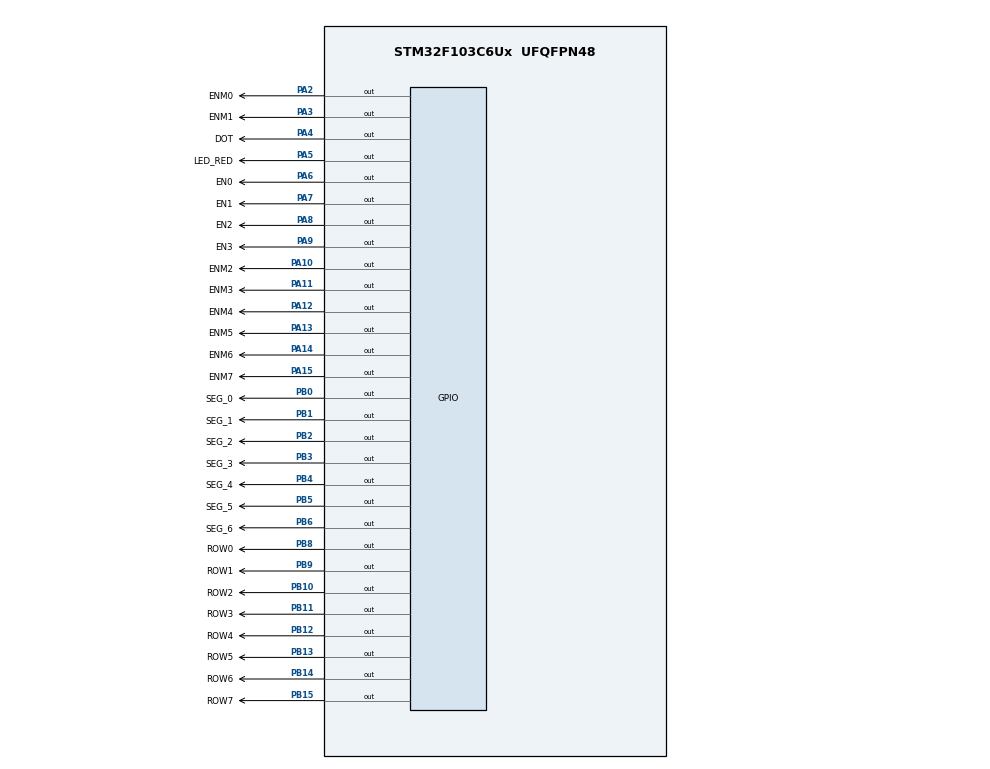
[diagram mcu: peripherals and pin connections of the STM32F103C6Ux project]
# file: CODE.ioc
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Mcu.Family=STM32F1
Mcu.Name=STM32F103C6Ux
Mcu.Package=UFQFPN48
NVIC.PriorityGroup=NVIC_PRIORITYGROUP_4
NVIC.TIM2_IRQn=true\:0\:0\:false\:false\:true\:true\:true
PA10.GPIO_Label=ENM2
PA10.Signal=GPIO_Output
PA11.GPIO_Label=ENM3
PA11.Signal=GPIO_Output
PA12.GPIO_Label=ENM4
PA12.Signal=GPIO_Output
PA13.GPIO_Label=ENM5
PA13.Signal=GPIO_Output
PA14.GPIO_Label=ENM6
PA14.Signal=GPIO_Output
PA15.GPIO_Label=ENM7
PA15.Signal=GPIO_Output
PA2.GPIO_Label=ENM0
PA2.Signal=GPIO_Output
PA3.GPIO_Label=ENM1
PA3.Signal=GPIO_Output
PA4.GPIO_Label=DOT
PA4.Signal=GPIO_Output
PA5.GPIO_Label=LED_RED
PA5.Signal=GPIO_Output
PA6.GPIO_Label=EN0
PA6.Signal=GPIO_Output
PA7.GPIO_Label=EN1
PA7.Signal=GPIO_Output
PA8.GPIO_Label=EN2
PA8.Signal=GPIO_Output
PA9.GPIO_Label=EN3
PA9.Signal=GPIO_Output
PB0.GPIO_Label=SEG_0
PB0.Signal=GPIO_Output
PB1.GPIO_Label=SEG_1
PB1.Signal=GPIO_Output
PB10.GPIO_Label=ROW2
PB10.Signal=GPIO_Output
PB11.GPIO_Label=ROW3
PB11.Signal=GPIO_Output
PB12.GPIO_Label=ROW4
PB12.Signal=GPIO_Output
PB13.GPIO_Label=ROW5
PB13.Signal=GPIO_Output
PB14.GPIO_Label=ROW6
PB14.Signal=GPIO_Output
PB15.GPIO_Label=ROW7
PB15.Signal=GPIO_Output
PB2.GPIO_Label=SEG_2
PB2.Signal=GPIO_Output
PB3.GPIO_Label=SEG_3
PB3.Signal=GPIO_Output
PB4.GPIO_Label=SEG_4
PB4.Signal=GPIO_Output
PB5.GPIO_Label=SEG_5
PB5.Signal=GPIO_Output
PB6.GPIO_Label=SEG_6
PB6.Signal=GPIO_Output
PB8.GPIO_Label=ROW0
PB8.Signal=GPIO_Output
PB9.GPIO_Label=ROW1
PB9.Signal=GPIO_Output
ProjectManager.HeapSize=0x200
ProjectManager.StackSize=0x400
ProjectManager.TargetToolchain=STM32CubeIDE
RCC.APB1Freq_Value=8000000
RCC.APB2Freq_Value=8000000
TIM2.Period=9
TIM2.Prescaler=7999
VP_SYS_VS_ND.Mode=No_Debug
VP_TIM2_VS_ClockSourceINT.Mode=Internal
board=custom

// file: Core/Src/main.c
/* USER CODE BEGIN Header */
/**
  ******************************************************************************
  * @file           : main.c
  * @brief          : Main program body
  ******************************************************************************
  * @attention
  *
  * <h2><center>&copy; Copyright (c) 2024 STMicroelectronics.
  * All rights reserved.</center></h2>
  *
  * This software component is licensed by ST under BSD 3-Clause license,
  * the "License"; You may not use this file except in compliance with the
  * License. You may obtain a copy of the License at:
  *                        opensource.org/licenses/BSD-3-Clause
  *
  ******************************************************************************
  */
/* USER CODE END Header */
#include "main.h"

/* USER CODE BEGIN Includes */
#include "sortware_time.h"
#include "Exercise.h"
#include "Output.h"
/* USER CODE END Includes */

TIM_HandleTypeDef htim2;

void SystemClock_Config(void);
static void MX_GPIO_Init(void);
static void MX_TIM2_Init(void);

int main(void)
{

  /* MCU Configuration--------------------------------------------------------*/

  /* Reset of all peripherals, Initializes the Flash interface and the Systick. */
  HAL_Init();

  /* Configure the system clock */
  SystemClock_Config();

  /* Initialize all configured peripherals */
  MX_GPIO_Init();
  MX_TIM2_Init();
  /* USER CODE BEGIN 2 */
  HAL_TIM_Base_Start_IT(&htim2);
  /* USER CODE END 2 */

  /* Infinite loop */
  /* USER CODE BEGIN WHILE */
  init_7SEG();
  init_exercise();
  setTimer(0,70);
  setTimer(1,20);
  setTimer(2,30);
  setTimer(3,50);
  setTimer(4,10);
  setTimer(5,2000);
  int index_7SEG = 0;
  int index_led_matrix = 0;
  int index_Shift_Left=0;
  int index_updatestringBuffer=1;
  while (1)
  {
	  if(timer_flag[0]==1){
		  setTimer(0,1000);
		  HAL_GPIO_TogglePin(LED_RED_GPIO_Port, LED_RED_Pin);
	  }
	  if(timer_flag[1]==1){
		  setTimer(1,500);
		  HAL_GPIO_TogglePin(DOT_GPIO_Port, DOT_Pin);
	  }
	  if(timer_flag[2]==1){
		  setTimer(2,250);
		  update7SEG(index_7SEG++);
	  }
	  if(timer_flag[3]==1){
		  setTimer(3,1000);
		  clocktime();
		  updateClockBuffer();
	  }
	  if(timer_flag[4]==1){
		  setTimer(4,250);
		  updateLEDMatrix(index_led_matrix++);
	  }
	  if(timer_flag[5]==1){
		  setTimer(5,2000);
		  animation_Shift_Left();
		  index_Shift_Left++;
		  if(index_Shift_Left==8){
			  updatestringBuffer(index_updatestringBuffer++);
			  index_Shift_Left=0;
		  }
	  }
    /* USER CODE END WHILE */

  }
}

void SystemClock_Config(void)
{
  RCC_OscInitTypeDef RCC_OscInitStruct = {0};
  RCC_ClkInitTypeDef RCC_ClkInitStruct = {0};

  /** Initializes the RCC Oscillators according to the specified parameters
  * in the RCC_OscInitTypeDef structure.
  */
  RCC_OscInitStruct.OscillatorType = RCC_OSCILLATORTYPE_HSI;
  RCC_OscInitStruct.HSIState = RCC_HSI_ON;
  RCC_OscInitStruct.HSICalibrationValue = RCC_HSICALIBRATION_DEFAULT;
  RCC_OscInitStruct.PLL.PLLState = RCC_PLL_NONE;
  if (HAL_RCC_OscConfig(&RCC_OscInitStruct) != HAL_OK)
  {
    Error_Handler();
  }
  /** Initializes the CPU, AHB and APB buses clocks
  */
  RCC_ClkInitStruct.ClockType = RCC_CLOCKTYPE_HCLK|RCC_CLOCKTYPE_SYSCLK
                              |RCC_CLOCKTYPE_PCLK1|RCC_CLOCKTYPE_PCLK2;
  RCC_ClkInitStruct.SYSCLKSource = RCC_SYSCLKSOURCE_HSI;
  RCC_ClkInitStruct.AHBCLKDivider = RCC_SYSCLK_DIV1;
  RCC_ClkInitStruct.APB1CLKDivider = RCC_HCLK_DIV1;
  RCC_ClkInitStruct.APB2CLKDivider = RCC_HCLK_DIV1;

  if (HAL_RCC_ClockConfig(&RCC_ClkInitStruct, FLASH_LATENCY_0) != HAL_OK)
  {
    Error_Handler();
  }
}

static void MX_TIM2_Init(void)
{

  TIM_ClockConfigTypeDef sClockSourceConfig = {0};
  TIM_MasterConfigTypeDef sMasterConfig = {0};

  htim2.Instance = TIM2;
  htim2.Init.Prescaler = 7999;
  htim2.Init.CounterMode = TIM_COUNTERMODE_UP;
  htim2.Init.Period = 9;
  htim2.Init.ClockDivision = TIM_CLOCKDIVISION_DIV1;
  htim2.Init.AutoReloadPreload = TIM_AUTORELOAD_PRELOAD_DISABLE;
  if (HAL_TIM_Base_Init(&htim2) != HAL_OK)
  {
    Error_Handler();
  }
  sClockSourceConfig.ClockSource = TIM_CLOCKSOURCE_INTERNAL;
  if (HAL_TIM_ConfigClockSource(&htim2, &sClockSourceConfig) != HAL_OK)
  {
    Error_Handler();
  }
  sMasterConfig.MasterOutputTrigger = TIM_TRGO_RESET;
  sMasterConfig.MasterSlaveMode = TIM_MASTERSLAVEMODE_DISABLE;
  if (HAL_TIMEx_MasterConfigSynchronization(&htim2, &sMasterConfig) != HAL_OK)
  {
    Error_Handler();
  }

}

static void MX_GPIO_Init(void)
{
  GPIO_InitTypeDef GPIO_InitStruct = {0};

  /* GPIO Ports Clock Enable */
  __HAL_RCC_GPIOA_CLK_ENABLE();
  __HAL_RCC_GPIOB_CLK_ENABLE();

  /*Configure GPIO pin Output Level */
  HAL_GPIO_WritePin(GPIOA, ENM0_Pin|ENM1_Pin|DOT_Pin|LED_RED_Pin
                          |EN0_Pin|EN1_Pin|EN2_Pin|EN3_Pin
                          |ENM2_Pin|ENM3_Pin|ENM4_Pin|ENM5_Pin
                          |ENM6_Pin|ENM7_Pin, GPIO_PIN_RESET);

  /*Configure GPIO pin Output Level */
  HAL_GPIO_WritePin(GPIOB, SEG_0_Pin|SEG_1_Pin|SEG_2_Pin|ROW2_Pin
                          |ROW3_Pin|ROW4_Pin|ROW5_Pin|ROW6_Pin
                          |ROW7_Pin|SEG_3_Pin|SEG_4_Pin|SEG_5_Pin
                          |SEG_6_Pin|ROW0_Pin|ROW1_Pin, GPIO_PIN_RESET);

  /*Configure GPIO pins : ENM0_Pin ENM1_Pin DOT_Pin LED_RED_Pin
                           EN0_Pin EN1_Pin EN2_Pin EN3_Pin
                           ENM2_Pin ENM3_Pin ENM4_Pin ENM5_Pin
                           ENM6_Pin ENM7_Pin */
  GPIO_InitStruct.Pin = ENM0_Pin|ENM1_Pin|DOT_Pin|LED_RED_Pin
                          |EN0_Pin|EN1_Pin|EN2_Pin|EN3_Pin
                          |ENM2_Pin|ENM3_Pin|ENM4_Pin|ENM5_Pin
                          |ENM6_Pin|ENM7_Pin;
  GPIO_InitStruct.Mode = GPIO_MODE_OUTPUT_PP;
  GPIO_InitStruct.Pull = GPIO_NOPULL;
  GPIO_InitStruct.Speed = GPIO_SPEED_FREQ_LOW;
  HAL_GPIO_Init(GPIOA, &GPIO_InitStruct);

  /*Configure GPIO pins : SEG_0_Pin SEG_1_Pin SEG_2_Pin ROW2_Pin
                           ROW3_Pin ROW4_Pin ROW5_Pin ROW6_Pin
                           ROW7_Pin SEG_3_Pin SEG_4_Pin SEG_5_Pin
                           SEG_6_Pin ROW0_Pin ROW1_Pin */
  GPIO_InitStruct.Pin = SEG_0_Pin|SEG_1_Pin|SEG_2_Pin|ROW2_Pin
                          |ROW3_Pin|ROW4_Pin|ROW5_Pin|ROW6_Pin
                          |ROW7_Pin|SEG_3_Pin|SEG_4_Pin|SEG_5_Pin
                          |SEG_6_Pin|ROW0_Pin|ROW1_Pin;
  GPIO_InitStruct.Mode = GPIO_MODE_OUTPUT_PP;
  GPIO_InitStruct.Pull = GPIO_NOPULL;
  GPIO_InitStruct.Speed = GPIO_SPEED_FREQ_LOW;
  HAL_GPIO_Init(GPIOB, &GPIO_InitStruct);

}

/* USER CODE BEGIN 4 */
void HAL_TIM_PeriodElapsedCallback(TIM_HandleTypeDef *htim){
 timer_run();
}
/* USER CODE END 4 */

void Error_Handler(void)
{
  __disable_irq();
  while (1)
  {
  }
}

/************************ (C) COPYRIGHT STMicroelectronics *****END OF FILE****/
